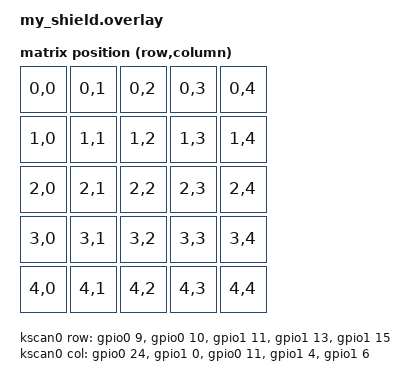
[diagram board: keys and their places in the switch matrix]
#include <dt-bindings/zmk/matrix_transform.h>

/ {
    chosen {
        zmk,kscan = &kscan0;
        zmk,matrix-transform = &default_transform;
    };

    default_transform: keymap_transform_0 {
        compatible = "zmk,matrix-transform";
        columns = <5>;
        rows = <5>;
        map = <
            RC(0,0) RC(0,1) RC(0,2) RC(0,3) RC(0,4)
            RC(1,0) RC(1,1) RC(1,2) RC(1,3) RC(1,4)
            RC(2,0) RC(2,1) RC(2,2) RC(2,3) RC(2,4)
            RC(3,0) RC(3,1) RC(3,2) RC(3,3) RC(3,4)
            RC(4,0) RC(4,1) RC(4,2) RC(4,3) RC(4,4)
        >;
    };

    kscan0: kscan {
        compatible = "zmk,kscan-gpio-matrix";
        label = "KSCAN";
        diode-direction = "col2row";
        col-gpios
            = <&gpio0 24 GPIO_ACTIVE_HIGH>
            , <&gpio1 0  GPIO_ACTIVE_HIGH>
            , <&gpio0 11 GPIO_ACTIVE_HIGH>
            , <&gpio1 4  GPIO_ACTIVE_HIGH>
            , <&gpio1 6  GPIO_ACTIVE_HIGH>
            ;
        row-gpios
            = <&gpio0 9  (GPIO_ACTIVE_HIGH | GPIO_PULL_DOWN)>
            , <&gpio0 10 (GPIO_ACTIVE_HIGH | GPIO_PULL_DOWN)>
            , <&gpio1 11 (GPIO_ACTIVE_HIGH | GPIO_PULL_DOWN)>
            , <&gpio1 13 (GPIO_ACTIVE_HIGH | GPIO_PULL_DOWN)>
            , <&gpio1 15 (GPIO_ACTIVE_HIGH | GPIO_PULL_DOWN)>
            ;
    };
};
